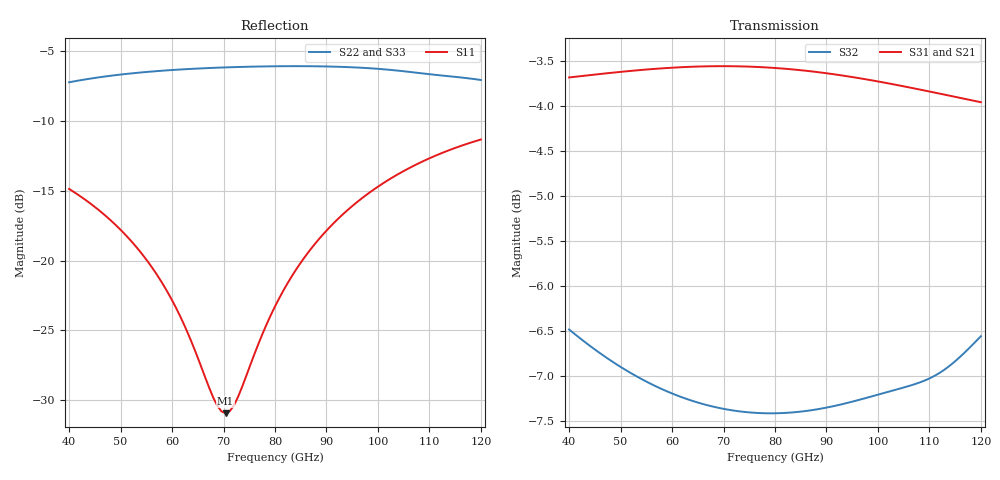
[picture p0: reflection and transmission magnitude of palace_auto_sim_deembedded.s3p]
! Created with skrf 1.11.0 (http://scikit-rf.org).
# GHz S DB R 50.0
!freq dBS11 angS11 dBS12 angS12 dBS13 angS13
! dBS21 angS21 dBS22 angS22 dBS23 angS23
! dBS31 angS31 dBS32 angS32 dBS33 angS33
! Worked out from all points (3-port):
!   101 points, 40 GHz to 120 GHz, reference 50 ohm
!   strongest paths, dB at 40 GHz, 60 GHz, 80 GHz, 100 GHz, 120 GHz:
!     S31: -3.7, -3.6, -3.6, -3.7, -4.0
!     S21: -3.7, -3.6, -3.6, -3.7, -4.0
!     S32: -6.5, -7.2, -7.4, -7.2, -6.6
!   lowest |S11| = -31.0 dB at 70.4 GHz (marker M1), VSWR 1.06, Z = 52.8 + j0.65 ohm
!   |S11| at or under -10 dB: start of sweep to end of sweep
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40  -14.87 128.8  -3.69 -44.7  -3.68 -44.7
    -3.69 -44.7  -7.22 45.6  -6.48 -100.7
    -3.68 -44.7  -6.48 -100.7  -7.24 45.5
56  -20.44 102.1  -3.60 -63.2  -3.59 -63.3
    -3.60 -63.2  -6.45 22.4  -7.09 -134.8
    -3.59 -63.3  -7.09 -134.8  -6.47 22.3
61.6  -24.01 86.2  -3.58 -69.8  -3.57 -69.9
      -3.58 -69.8  -6.30 15.5  -7.23 -146.5
      -3.57 -69.9  -7.23 -146.5  -6.33 15.3
68.8  -30.42 34.5  -3.57 -78.4  -3.56 -78.4
      -3.57 -78.4  -6.17 7.1  -7.35 -161.3
      -3.56 -78.4  -7.35 -161.3  -6.20 6.9
70.4  -30.95 12.5  -3.57 -80.3  -3.56 -80.3
      -3.57 -80.3  -6.15 5.3  -7.37 -164.6
      -3.56 -80.3  -7.37 -164.6  -6.18 5.1
72.8  -29.79 -19.1  -3.57 -83.2  -3.56 -83.2
      -3.57 -83.2  -6.13 2.6  -7.39 -169.6
      -3.56 -83.2  -7.39 -169.6  -6.15 2.4
80  -23.29 -64.0  -3.59 -91.8  -3.58 -91.8
    -3.59 -91.8  -6.07 -5.5  -7.42 175.6
    -3.58 -91.8  -7.42 175.6  -6.10 -5.6
87.2  -19.06 -82.1  -3.63 -100.3  -3.61 -100.4
      -3.63 -100.3  -6.07 -13.6  -7.38 160.7
      -3.61 -100.4  -7.38 160.7  -6.10 -13.8
96  -15.79 -96.9  -3.70 -110.7  -3.69 -110.8
    -3.70 -110.7  -6.16 -24.1  -7.27 142.3
    -3.69 -110.8  -7.27 142.3  -6.19 -24.3
120  -11.32 -127.7  -3.96 -138.2  -3.96 -138.4
     -3.96 -138.2  -7.06 -57.3  -6.56 91.7
     -3.96 -138.4  -6.56 91.7  -7.07 -57.7
